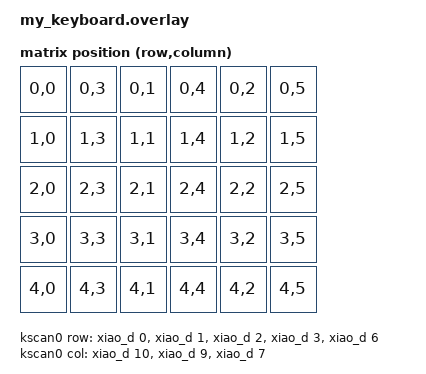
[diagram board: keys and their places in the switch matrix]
#include <dt-bindings/zmk/matrix_transform.h>
#include <dt-bindings/led/led.h>

&uart0 {
    status = "disabled";
};

/ {
    chosen {
        zmk,kscan = &kscan0;
        zmk,matrix-transform = &default_transform;
    };

    default_transform: matrix_transform {
        compatible = "zmk,matrix-transform";
        columns = <6>;
        rows = <5>;

        map = <
            RC(0,0) RC(0,3) RC(0,1) RC(0,4) RC(0,2) RC(0,5)
            RC(1,0) RC(1,3) RC(1,1) RC(1,4) RC(1,2) RC(1,5)
            RC(2,0) RC(2,3) RC(2,1) RC(2,4) RC(2,2) RC(2,5)
            RC(3,0) RC(3,3) RC(3,1) RC(3,4) RC(3,2) RC(3,5)
            RC(4,0) RC(4,3) RC(4,1) RC(4,4) RC(4,2) RC(4,5)
        >;
    };

    kscan0: kscan {
        compatible = "zmk,kscan-duplex";

        row-gpios = <&xiao_d 0 GPIO_ACTIVE_HIGH>,
                    <&xiao_d 1 GPIO_ACTIVE_HIGH>,
                    <&xiao_d 2 GPIO_ACTIVE_HIGH>,
                    <&xiao_d 3 GPIO_ACTIVE_HIGH>,
                    <&xiao_d 6 GPIO_ACTIVE_HIGH>;

        col-gpios = <&xiao_d 10 GPIO_ACTIVE_HIGH>,
                    <&xiao_d 9 GPIO_ACTIVE_HIGH>,
                    <&xiao_d 7 GPIO_ACTIVE_HIGH>;
    };

    /* SK6812 LED1 (D8) */
    led_strip_1: ws2812_1 {
        compatible = "worldsemi,ws2812-gpio";
        chain-length = <1>;
        color-mapping = <LED_COLOR_ID_GREEN LED_COLOR_ID_RED LED_COLOR_ID_BLUE>;
        gpios = <&xiao_d 8 0>;
    };

    /* SK6812 LED2 (D4) */
    led_strip_2: ws2812_2 {
        compatible = "worldsemi,ws2812-gpio";
        chain-length = <1>;
        color-mapping = <LED_COLOR_ID_GREEN LED_COLOR_ID_RED LED_COLOR_ID_BLUE>;
        gpios = <&xiao_d 4 0>;
    };
};
